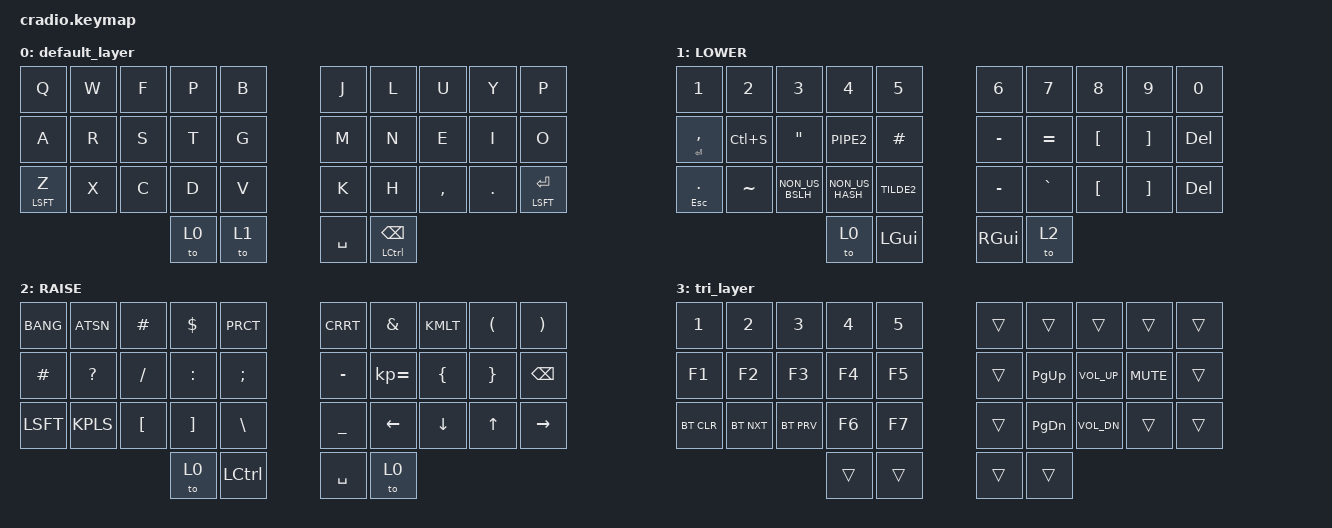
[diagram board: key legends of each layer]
/*
 * Copyright (c) 2020 The ZMK Contributors
 *
 * SPDX-License-Identifier: MIT
 */

#include <behaviors.dtsi>
#include <dt-bindings/zmk/keys.h>
#include <dt-bindings/zmk/bt.h>
#define DEFAULT 0
#define LOWER   1
#define RAISE   2

&mt {
  //  flavor = "tap-preferred";
   // tapping_term_ms = <200>;
};

/ { 

    combos {
        compatible = "zmk,combos";
        combo_esc {
            timeout-ms = <50>;
            key-positions = <0 1>;
            bindings = <&kp ESC>;
        };
        
         combo_tab {
            timeout-ms = <50>;
            key-positions = <10 11>;
            bindings = <&kp TAB>;
        };
        
            combo_ralt {
            timeout-ms = <50>;
            key-positions = <17 16>;
            bindings = <&kp RALT>;
        };
        
                    combo_lalt {
            timeout-ms = <50>;
            key-positions = <11 12>;
            bindings = <&kp LALT>;
        };
        
                           combo_lgui {
            timeout-ms = <50>;
            key-positions = <12 13>;
            bindings = <&kp LGUI>;
        };
        
        
           combo_rgui {
            timeout-ms = <50>;
            key-positions = <17 18>;
            bindings = <&kp RGUI>;
        };
        

        
    };

        keymap {
                compatible = "zmk,keymap";
                
       		default_layer {
		bindings = <
		&kp Q &kp W &kp F &kp P &kp B 						&kp J &kp L  &kp U    &kp Y   &kp P 
		&kp A &kp R &kp S &kp T &kp G 			        	        &kp M &kp N &kp E &kp I &kp O
		&mt LSFT Z &kp X &kp C &kp D &kp V				        &kp K &kp H  &kp CMMA &kp DOT &mt LSFT RET
          				&to 0 &to 1				      &kp SPACE &mt LCTL BKSP 
		>;
		};

       		LOWER {
		bindings = <
		&kp NUM_1  &kp NUM_2    &kp NUM_3    &kp NUM_4    &kp NUM_5		&kp NUM_6 &kp NUM_7 &kp NUM_8 &kp NUM_9 &kp NUM_0 
		&mt RET CMMA   &kp LC(S)    &kp DQT      &kp PIPE2     &kp HASH 		&kp MINUS &kp EQL  &kp LBKT &kp RBKT  &kp DEL 
		&mt ESC DOT   &kp TILDE 	&kp NON_US_BSLH &kp NON_US_HASH  &kp TILDE2 	&kp MINUS &kp GRAVE &kp LBKT &kp RBKT  &kp DEL 
					    &to 0  &kp LGUI  					&kp RGUI &to 2 
		>;
		};
		
		RAISE {
		bindings = <
		&kp BANG  &kp ATSN &kp HASH  &kp DLLR  &kp PRCT    			&kp CRRT  &kp AMPS &kp KMLT &kp LPRN &kp RPRN 
		&kp HASH  &kp QMARK  &kp FSLH  &kp COLN  &kp SCLN 			&kp MINUS &kp KP_EQUAL  &kp LBRC  &kp RBRC   &kp BKSP
		&kp LSFT  &kp KPLS &kp LBKT &kp RBKT   &kp BSLH    			&kp UNDER &kp LEFT &kp DOWN &kp UP  &kp RIGHT
					  &to 0 &kp LCTL  				&kp SPC  &to 0 
		>;
		};	
		
		tri_layer {
		bindings = <
		&kp NUM_1  &kp NUM_2    &kp NUM_3    &kp NUM_4    &kp NUM_5 			&trans &trans   &trans   &trans  &trans
		&kp F1 &kp F2 &kp F3 &kp F4 &kp F5  						&trans &kp PG_UP  &kp K_VOL_UP &kp K_MUTE &trans 
		&bt BT_CLR  &bt BT_NXT &bt BT_PRV &kp F6 &kp F7   				&trans &kp PG_DN  &kp K_VOL_DN  &trans &trans   
					 &trans &trans  					&trans &trans 
		>;
		};	
        
	};
};
